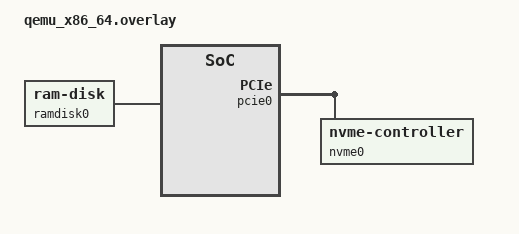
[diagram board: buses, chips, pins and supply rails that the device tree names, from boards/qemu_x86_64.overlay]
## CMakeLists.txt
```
# SPDX-License-Identifier: Apache-2.0

cmake_minimum_required(VERSION 3.20.0)
find_package(Zephyr REQUIRED HINTS $ENV{ZEPHYR_BASE})
project(disk_driver_test)

FILE(GLOB app_sources src/*.c)
target_sources(app PRIVATE ${app_sources})
```

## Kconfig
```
# SPDX-License-Identifier: Apache-2.0
# Copyright 2022 NXP

mainmenu "Disk driver access test"

config MAIN_STACK_SIZE
	default 1280 if (MMC_STACK && IMX_USDHC)

source "Kconfig.zephyr"
```

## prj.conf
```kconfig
CONFIG_TEST=y
CONFIG_ZTEST=y
CONFIG_DISK_ACCESS=y
```

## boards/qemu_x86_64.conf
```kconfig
CONFIG_ACPI=y
CONFIG_PCIE=y
CONFIG_PCIE_MSI=y
CONFIG_PCIE_MSI_X=y
CONFIG_PCIE_MSI_MULTI_VECTOR=y
```

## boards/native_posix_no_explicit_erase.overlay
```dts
/*
 * Copyright (c) 2024 Nordic Semiconductor ASA
 *
 * SPDX-License-Identifier: Apache-2.0
 */

&flashcontroller0 {
	reg = <0x00000000 DT_SIZE_K(1024)>;
};

&flash0 {
	reg = <0x00000000 DT_SIZE_K(1024)>;
	partitions {
		compatible = "fixed-partitions";
		#address-cells = <1>;
		#size-cells = <1>;

		flashdisk_partition: partition@0 {
			label = "flashdisk";
			reg = <0x00000000 0x00100000>;
		};
	};
};

/ {
	test_disk: storage_disk {
		compatible = "zephyr,flash-disk";
		partition = <&flashdisk_partition>;
		disk-name = "NAND";
		cache-size = <512>;
	};
};
```

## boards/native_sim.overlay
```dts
/*
 * Copyright (c) 2024 Nordic Semiconductor ASA
 *
 * SPDX-License-Identifier: Apache-2.0
 */

&flashcontroller0 {
	reg = <0x00000000 DT_SIZE_K(1024)>;
};

&flash0 {
	reg = <0x00000000 DT_SIZE_K(1024)>;
	partitions {
		compatible = "fixed-partitions";
		#address-cells = <1>;
		#size-cells = <1>;

		flashdisk_partition: partition@0 {
			label = "flashdisk";
			reg = <0x00000000 DT_SIZE_K(1024)>;
		};
	};
};

/ {
	test_disk: storage_disk {
		compatible = "zephyr,flash-disk";
		partition = <&flashdisk_partition>;
		disk-name = "NAND";
		cache-size = <4096>;
	};

	ramdisk0 {
		compatible = "zephyr,ram-disk";
		disk-name = "RAM";
		sector-size = <512>;
		sector-count = <192>;
	};
};
```

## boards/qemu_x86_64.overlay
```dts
/* SPDX-License-Identifier: Apache-2.0 */

#include <zephyr/dt-bindings/pcie/pcie.h>

/ {
	pcie0 {
		nvme0: nvme0 {
			compatible = "nvme-controller";

			vendor-id = <0x1B36>;
			device-id = <0x0010>;

			status = "okay";
		};
	};

	ramdisk0 {
		compatible = "zephyr,ram-disk";
		disk-name = "RAM";
		sector-size = <512>;
		sector-count = <192>;
	};
};
```

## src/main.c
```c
/*
 * Copyright (c) 2021 NXP
 *
 * SPDX-License-Identifier: Apache-2.0
 */

/*
 * WARNING: This test will overwrite data on any disk utilized. Do not run
 * this test with an disk that has useful data
 */

#include <zephyr/kernel.h>
#include <zephyr/ztest.h>
#include <zephyr/storage/disk_access.h>
#include <zephyr/device.h>

#ifdef CONFIG_DISK_DRIVER_LOOPBACK
#include <ff.h>
#include <zephyr/fs/fs.h>
#include <zephyr/drivers/loopback_disk.h>
#endif

#if defined(CONFIG_DISK_DRIVER_SDMMC)
#define DISK_NAME_PHYS CONFIG_SDMMC_VOLUME_NAME
#elif defined(CONFIG_DISK_DRIVER_MMC)
#define DISK_NAME_PHYS CONFIG_MMC_VOLUME_NAME
#elif defined(CONFIG_DISK_DRIVER_FLASH)
#define DISK_NAME_PHYS "NAND"
#elif defined(CONFIG_NVME)
#define DISK_NAME_PHYS "nvme0n0"
#elif defined(CONFIG_DISK_DRIVER_RAM)
/* Since ramdisk is enabled by default on e.g. qemu boards, it needs to be checked last to not
 * override other backends.
 */
#define DISK_NAME_PHYS "RAM"
#else
#error "No disk device defined, is your board supported?"
#endif

#ifdef CONFIG_DISK_DRIVER_LOOPBACK
#define DISK_NAME "loopback0"
#else
#define DISK_NAME DISK_NAME_PHYS
#endif

/* Assume the largest sector we will encounter is 512 bytes */
#define SECTOR_SIZE 512

/* Sector counts to read */
#define SECTOR_COUNT1 8
#define SECTOR_COUNT2 1
#define SECTOR_COUNT3 29
#define SECTOR_COUNT4 31

#define OVERFLOW_CANARY 0xDE

static const char *disk_pdrv = DISK_NAME;
static uint32_t disk_sector_count;
static uint32_t disk_sector_size;

/* + 4 to make sure the second buffer is dword-aligned for NVME */
static uint8_t scratch_buf[2][SECTOR_COUNT4 * SECTOR_SIZE + 4];

#ifdef CONFIG_DISK_DRIVER_LOOPBACK
#define BACKING_PATH "/"DISK_NAME_PHYS":"

static struct loopback_disk_access lo_access;
static FATFS fat_fs;
static struct fs_mount_t backing_mount = {
	.type = FS_FATFS,
	.mnt_point = BACKING_PATH,
	.fs_data = &fat_fs,
};
static const uint8_t zero_kb[1024] = {};
static void setup_loopback_backing(void)
{
	int rc;

	rc = fs_mkfs(FS_FATFS, (uintptr_t)&BACKING_PATH[1], NULL, 0);
	zassert_equal(rc, 0, "Failed to format backing file system");

	rc = fs_mount(&backing_mount);
	zassert_equal(rc, 0, "Failed to mount backing file system");

	struct fs_file_t f;

	fs_file_t_init(&f);
	rc = fs_open(&f, BACKING_PATH "/loopback.img", FS_O_WRITE | FS_O_CREATE);
	zassert_equal(rc, 0, "Failed to create backing file");
	for (int i = 0; i < 64; i++) {
		rc = fs_write(&f, zero_kb, sizeof(zero_kb));
		zassert_equal(rc, sizeof(zero_kb), "Failed to enlarge backing file");
	}
	rc = fs_close(&f);
	zassert_equal(rc, 0, "Failed to close backing file");

	rc = loopback_disk_access_register(&lo_access, BACKING_PATH "/loopback.img", DISK_NAME);
	zassert_equal(rc, 0, "Loopback disk access initialization failed");
}
#endif

/* Sets up test by initializing disk */
static void test_setup(void)
{
	int rc;
	uint32_t cmd_buf;

	rc = disk_access_init(disk_pdrv);
	zassert_equal(rc, 0, "Disk access initialization failed");

	rc = disk_access_status(disk_pdrv);
	zassert_equal(rc, DISK_STATUS_OK, "Disk status is not OK");

	rc = disk_access_ioctl(disk_pdrv, DISK_IOCTL_GET_SECTOR_COUNT, &cmd_buf);
	zassert_equal(rc, 0, "Disk ioctl get sector count failed");

	TC_PRINT("Disk reports %u sectors\n", cmd_buf);
	disk_sector_count = cmd_buf;

	rc = disk_access_ioctl(disk_pdrv, DISK_IOCTL_GET_SECTOR_SIZE, &cmd_buf);
	zassert_equal(rc, 0, "Disk ioctl get sector size failed");
	TC_PRINT("Disk reports sector size %u\n", cmd_buf);
	disk_sector_size = cmd_buf;

	/* We could allocate memory once we know the sector size, but instead
	 * just verify our assumed maximum size
	 */
	zassert_true(cmd_buf <= SECTOR_SIZE,
		"Test will fail, SECTOR_SIZE definition must be increased");
}

/* Reads sectors, verifying overflow does not occur */
static int read_sector(uint8_t *buf, uint32_t start, uint32_t num_sectors)
{
	int rc;

	/* Set up overflow canary */
	buf[num_sectors * disk_sector_size] = OVERFLOW_CANARY;
	rc = disk_access_read(disk_pdrv, buf, start, num_sectors);
	/* Check canary */
	zassert_equal(buf[num_sectors * disk_sector_size], OVERFLOW_CANARY,
		"Read overflowed requested length");
	return rc; /* Let calling function check return code */
}

/* Tests reading from a variety of sectors */
static void test_sector_read(uint8_t *buf, uint32_t num_sectors)
{
	int rc, sector;

	TC_PRINT("Testing reads of %u sectors\n", num_sectors);
	/* Read from disk sector 0*/
	rc = read_sector(buf, 0, num_sectors);
	zassert_equal(rc, 0, "Failed to read from sector zero");
	/* Read from a sector in the "middle" of the disk */
	if (disk_sector_count / 2 > num_sectors) {
		sector = disk_sector_count / 2 - num_sectors;
	} else {
		sector = 0;
	}

	rc = read_sector(buf, sector, num_sectors);
	zassert_equal(rc, 0, "Failed to read from mid disk sector");
	/* Read from the last sector */
	rc = read_sector(buf, disk_sector_count - 1, num_sectors);
	if (num_sectors == 1) {
		zassert_equal(rc, 0, "Failed to read from last sector");
	} else {
		zassert_not_equal(rc, 0, "Disk should fail to read out of sector bounds");
	}
}

/* Write sector of disk, and check the data to ensure it is valid
 * WARNING: this test is destructive- it will overwrite data on the disk!
 */
static int write_sector_checked(uint8_t *wbuf, uint8_t *rbuf,
			uint32_t start, uint32_t num_sectors)
{
	int rc, i;

	/* First, fill the write buffer with data */
	for (i = 0; i < num_sectors * disk_sector_size; i++) {
		wbuf[i] = (i & (~num_sectors));
	}
	/* Now write data to the sector */
	rc = disk_access_write(disk_pdrv, wbuf, start, num_sectors);
	if (rc) {
		return rc; /* Let calling function handle disk error */
	}
	/* Read back the written data into another buffer */
	memset(rbuf, 0, num_sectors * disk_sector_size);
	rc = read_sector(rbuf, start, num_sectors);
	if (rc) {
		return rc;
	}
	/* Check the read data versus the written data */
	zassert_mem_equal(wbuf, rbuf, num_sectors * disk_sector_size,
		"Read data did not match data written to disk");
	return rc;
}

/* Tests writing to a variety of sectors
 * WARNING: this test is destructive- it will overwrite data on the disk!
 */
static void test_sector_write(uint8_t *wbuf, uint8_t *rbuf, uint32_t num_sectors)
{
	int rc, sector;

	TC_PRINT("Testing writes of %u sectors\n", num_sectors);
	/* Write to disk sector zero */
	rc = write_sector_checked(wbuf, rbuf, 0, num_sectors);
	zassert_equal(rc, 0, "Failed to write to sector zero");
	/* Write to a sector in the "middle" of the disk */
	if (disk_sector_count / 2 > num_sectors) {
		sector = disk_sector_count / 2 - num_sectors;
	} else {
		sector = 0;
	}

	rc = write_sector_checked(wbuf, rbuf, sector, num_sectors);
	zassert_equal(rc, 0, "Failed to write to mid disk sector");
	/* Write to the last sector */
	rc = write_sector_checked(wbuf, rbuf, disk_sector_count - 1, num_sectors);
	if (num_sectors == 1) {
		zassert_equal(rc, 0, "Failed to write to last sector");
	} else {
		zassert_not_equal(rc, 0, "Disk should fail to write out of sector bounds");
	}
}

/* Test multiple reads in series, and reading from a variety of blocks */
ZTEST(disk_driver, test_read)
{
	int rc, i;

	/* Verify all 4 read sizes work */
	test_sector_read(scratch_buf[0], SECTOR_COUNT1);
	test_sector_read(scratch_buf[0], SECTOR_COUNT2);
	test_sector_read(scratch_buf[0], SECTOR_COUNT3);
	test_sector_read(scratch_buf[0], SECTOR_COUNT4);

	/* Verify that reading from the same location returns to same data */
	memset(scratch_buf[0], 0, SECTOR_COUNT1 * disk_sector_size);
	rc = read_sector(scratch_buf[0], 0, SECTOR_COUNT1);
	zassert_equal(rc, 0, "Failed to read from disk");
	for (i = 0; i < 10; i++) {
		/* Read from sector, and compare it to the first read */
		memset(scratch_buf[1], 0xff, SECTOR_COUNT1 * disk_sector_size);
		rc = read_sector(scratch_buf[1], 0, SECTOR_COUNT1);
		zassert_equal(rc, 0, "Failed to read from disk at same sector location");
		zassert_mem_equal(scratch_buf[1], scratch_buf[0],
				SECTOR_COUNT1 * disk_sector_size,
				"Multiple reads mismatch");
	}
}

/* test writing data, and then verifying it was written correctly.
 * WARNING: this test is destructive- it will overwrite data on the disk!
 */
ZTEST(disk_driver, test_write)
{
	int rc, i;

	/* Verify all 4 sector write sizes work */
	test_sector_write(scratch_buf[0], scratch_buf[1], SECTOR_COUNT1);
	test_sector_write(scratch_buf[0], scratch_buf[1], SECTOR_COUNT2);
	test_sector_write(scratch_buf[0], scratch_buf[1], SECTOR_COUNT3);
	test_sector_write(scratch_buf[0], scratch_buf[1], SECTOR_COUNT4);

	/* Verify that multiple writes to the same location work */
	for (i = 0; i < 10; i++) {
		/* Write to sector- helper function verifies written data is correct */
		rc = write_sector_checked(scratch_buf[0], scratch_buf[1], 0, SECTOR_COUNT1);
		zassert_equal(rc, 0, "Failed to write to disk at same sector location");
	}
}

static void *disk_driver_setup(void)
{
#ifdef CONFIG_DISK_DRIVER_LOOPBACK
	setup_loopback_backing();
#endif
	test_setup();

	return NULL;
}

ZTEST_SUITE(disk_driver, NULL, disk_driver_setup, NULL, NULL, NULL);
```
